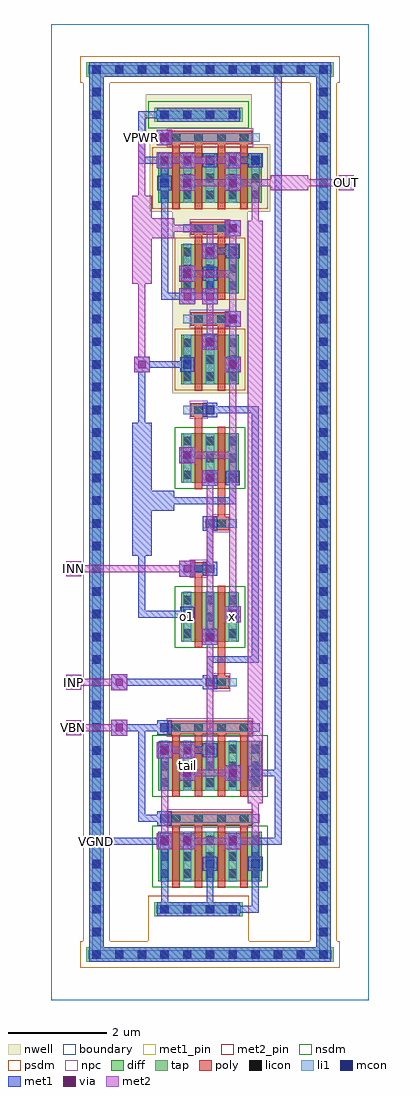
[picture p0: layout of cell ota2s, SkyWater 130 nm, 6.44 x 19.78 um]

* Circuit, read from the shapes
.subckt ota2s INN INP OUT VBN VGND VPWR o1 tail x
XM1 OUT VBN VGND VGND sky130_fd_pr__nfet_01v8 w=1 l=0.15 m=4
XM2 tail VBN VGND VGND sky130_fd_pr__nfet_01v8 w=1 l=0.15 m=4
XM3 tail INN o1 VGND sky130_fd_pr__nfet_01v8 w=1 l=0.15 m=2
XM4 tail INP x VGND sky130_fd_pr__nfet_01v8 w=1 l=0.15 m=2
XM5 OUT o1 VPWR VPWR sky130_fd_pr__pfet_01v8 w=1 l=0.15 m=4
XM6 VPWR x o1 VPWR sky130_fd_pr__pfet_01v8 w=1 l=0.15 m=2
XM7 VPWR x x VPWR sky130_fd_pr__pfet_01v8 w=1 l=0.15 m=2
.ends

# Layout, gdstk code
import gdstk
lib = gdstk.Library(unit=1e-6, precision=1e-09)
def R(c, l, rs):  # rectangles x0, y0, x1, y1
    for r in rs: c.add(gdstk.rectangle(r[:2], r[2:], *l))
def A(c, l, x, y, w, h, nx, ny, dx, dy):  # array of equal rectangles
    R(c, l, [(x+i*dx, y+j*dy, x+i*dx+w, y+j*dy+h) for i in range(nx) for j in range(ny)])
nwell = (64, 20)
diff = (65, 20)
tap = (65, 44)
poly = (66, 20)
licon = (66, 44)
li1 = (67, 20)
mcon = (67, 44)
met1_pin = (68, 16)
met1 = (68, 20)
via = (68, 44)
met2_pin = (69, 16)
met2 = (69, 20)
nsdm = (93, 44)
psdm = (94, 20)
npc = (95, 20)
boundary = (235, 4)

ota2s = lib.new_cell('ota2s')
R(ota2s, nwell, [(2.455,12.3,3.985,15.98), (1.995,15.98,4.445,17.34), (1.995,17.34,4.065,17.52), (1.915,17.52,4.065,18.36)])
R(ota2s, diff, [(2.175,2.405,4.265,3.405), (2.175,4.245,4.265,5.245), (2.635,7.265,3.805,8.265), (2.635,10.485,3.805,11.485), (2.635,12.48,3.805,13.48), (2.635,14.32,3.805,15.32), (2.175,16.16,4.265,17.16)])
R(ota2s, tap, [(0.715,0.775,5.725,1.065), (0.775,0.775,1.065,19.005), (5.375,0.775,5.665,19.005), (2.095,1.695,3.885,1.985), (2.095,17.795,3.885,18.085), (0.715,18.715,5.725,19.005)])
A(ota2s, poly, 2.455, 2.275, 0.15, 1.405, 4, 2, 0.46, 1.84)
A(ota2s, poly, 2.455, 16.03, 0.15, 1.45, 4, 1, 0.46, 0)
R(ota2s, poly, [(2.365,3.545,4.075,3.815), (2.365,5.385,4.075,5.655), (3.285,6.305,3.615,6.575), (3.375,6.44,3.525,8.395), (2.915,7.135,3.065,8.74), (2.825,8.605,3.155,8.875), (3.285,9.525,3.615,9.795), (3.375,9.66,3.525,11.615), (2.915,10.355,3.065,11.96), (2.825,11.825,3.155,12.095), (2.915,12.35,3.065,13.8), (3.375,12.35,3.525,13.8), (2.825,13.665,3.615,13.935), (2.915,14.19,3.065,15.64), (3.375,14.19,3.525,15.64), (2.825,15.505,3.615,15.775), (2.365,17.345,4.075,17.615)])
A(ota2s, licon, 0.835, 0.835, 0.17, 0.17, 11, 2, 0.46, 17.94)
A(ota2s, licon, 0.835, 1.295, 0.17, 0.17, 1, 38, 0, 0.46)
A(ota2s, licon, 5.435, 1.295, 0.17, 0.17, 1, 38, 0, 0.46)
A(ota2s, licon, 2.215, 1.755, 0.17, 0.17, 4, 2, 0.46, 16.1)
A(ota2s, licon, 2.215, 2.48, 0.17, 0.17, 5, 3, 0.46, 0.34)
A(ota2s, licon, 2.445, 3.595, 0.17, 0.17, 4, 2, 0.46, 1.84)
A(ota2s, licon, 2.215, 4.32, 0.17, 0.17, 5, 3, 0.46, 0.34)
A(ota2s, licon, 2.675, 7.34, 0.17, 0.17, 3, 3, 0.46, 0.34)
A(ota2s, licon, 2.675, 10.56, 0.17, 0.17, 3, 3, 0.46, 0.34)
A(ota2s, licon, 2.905, 11.875, 0.17, 0.17, 1, 3, 0, 1.84)
A(ota2s, licon, 2.675, 12.555, 0.17, 0.17, 3, 3, 0.46, 0.34)
A(ota2s, licon, 2.675, 14.395, 0.17, 0.17, 3, 3, 0.46, 0.34)
A(ota2s, licon, 2.215, 16.235, 0.17, 0.17, 5, 3, 0.46, 0.34)
A(ota2s, licon, 2.445, 17.395, 0.17, 0.17, 4, 1, 0.46, 0)
R(ota2s, licon, [(3.365,6.355,3.535,6.525), (2.905,8.655,3.075,8.825), (3.365,9.575,3.535,9.745), (3.365,13.715,3.535,13.885), (3.365,15.555,3.535,15.725)])
A(ota2s, li1, 2.215, 2.4, 0.17, 1.01, 5, 2, 0.46, 1.84)
A(ota2s, li1, 2.675, 7.26, 0.17, 1.01, 3, 2, 0.46, 3.22)
A(ota2s, li1, 2.675, 12.475, 0.17, 1.01, 3, 2, 0.46, 1.84)
A(ota2s, li1, 2.215, 16.155, 0.17, 1.01, 5, 1, 0.46, 0)
R(ota2s, li1, [(0.755,0.835,5.685,1.005), (0.835,0.835,1.005,18.945), (5.435,0.835,5.605,18.945), (2.135,1.755,3.845,1.925), (2.215,3.595,4.225,3.765), (2.215,5.435,4.225,5.605), (3.135,6.355,3.765,6.525), (2.675,8.655,3.305,8.825), (3.135,9.575,3.765,9.745), (2.675,11.875,3.305,12.045), (2.675,13.715,3.765,13.885), (2.675,15.555,3.765,15.725), (2.215,17.395,4.225,17.565), (2.135,17.855,3.845,18.025), (0.755,18.775,5.685,18.945)])
A(ota2s, mcon, 0.835, 0.835, 0.17, 0.17, 11, 2, 0.46, 17.94)
A(ota2s, mcon, 0.835, 1.295, 0.17, 0.17, 1, 11, 0, 0.46)
A(ota2s, mcon, 5.435, 1.295, 0.17, 0.17, 1, 11, 0, 0.46)
A(ota2s, mcon, 2.215, 1.755, 0.17, 0.17, 4, 2, 0.46, 16.1)
A(ota2s, mcon, 2.675, 4.515, 0.17, 0.17, 1, 3, 0, 3.22)
A(ota2s, mcon, 0.835, 6.355, 0.17, 0.17, 3, 2, 2.3, 0.92)
A(ota2s, mcon, 0.835, 8.195, 0.17, 0.17, 1, 3, 0, 0.92)
A(ota2s, mcon, 5.435, 8.195, 0.17, 0.17, 1, 3, 0, 0.92)
A(ota2s, mcon, 0.835, 8.655, 0.17, 0.17, 3, 2, 2.3, 0.92)
A(ota2s, mcon, 0.835, 10.495, 0.17, 0.17, 1, 3, 0, 0.46)
A(ota2s, mcon, 5.435, 10.495, 0.17, 0.17, 1, 3, 0, 0.46)
A(ota2s, mcon, 0.835, 11.875, 0.17, 0.17, 3, 2, 2.3, 1.38)
A(ota2s, mcon, 2.675, 12.795, 0.17, 0.17, 1, 3, 0, 1.84)
A(ota2s, mcon, 0.835, 13.715, 0.17, 0.17, 1, 11, 0, 0.46)
A(ota2s, mcon, 5.435, 13.715, 0.17, 0.17, 1, 11, 0, 0.46)
R(ota2s, mcon, [(3.135,2.675,3.305,2.845), (4.055,2.675,4.225,2.845), (2.215,3.135,2.385,3.305), (2.675,3.135,2.845,3.305), (3.595,3.135,3.765,3.305), (2.215,3.595,2.385,3.765), (3.595,4.515,3.765,4.685), (4.055,4.515,4.225,4.685), (2.215,4.975,2.385,5.145), (3.135,4.975,3.305,5.145), (2.215,5.435,2.385,5.605), (0.835,6.815,1.005,6.985), (5.435,6.815,5.605,6.985), (0.835,7.735,1.005,7.905), (3.595,7.735,3.765,7.905), (5.435,7.735,5.605,7.905), (3.135,10.495,3.305,10.665), (3.595,10.495,3.765,10.665), (0.835,12.335,1.005,12.505), (5.435,12.335,5.605,12.505), (0.835,12.795,1.005,12.965), (3.595,12.795,3.765,12.965), (5.435,12.795,5.605,12.965), (3.595,13.715,3.765,13.885), (3.135,14.635,3.305,14.805), (3.595,15.095,3.765,15.265), (3.595,15.555,3.765,15.725), (2.215,16.475,2.385,16.645), (3.595,16.475,3.765,16.645), (3.135,16.935,3.305,17.105), (4.055,16.935,4.225,17.105), (2.215,17.395,2.385,17.565)])
R(ota2s, met1_pin, [(0.85,3.15,0.99,3.29), (1.77,16.95,1.91,18.01)])
A(ota2s, met1, 3.15, 1.77, 1.06, 0.14, 1, 3, 0, 5.06)
A(ota2s, met1, 2.615, 4.455, 0.29, 0.29, 1, 3, 0, 3.22)
A(ota2s, met1, 3.075, 8.595, 0.29, 0.29, 1, 3, 0, 0.92)
A(ota2s, met1, 3.075, 11.815, 0.29, 0.29, 1, 3, 0, 1.38)
A(ota2s, met1, 2.615, 12.735, 0.29, 0.29, 1, 3, 0, 1.84)
A(ota2s, met1, 3.06, 13.18, 0.32, 0.32, 1, 3, 0, 0.92)
A(ota2s, met1, 1.77, 16.95, 0.6, 0.14, 3, 1, 0.92, 0)
R(ota2s, met1, [(0.775,0.775,5.665,1.065), (0.775,0.775,1.065,19.005), (5.375,0.775,5.665,19.005), (2.155,1.695,3.825,1.985), (2.23,1.77,3.29,1.91), (2.23,1.77,2.37,1.91), (2.23,1.77,2.37,3.29), (3.15,1.77,3.29,2.83), (4.07,1.77,4.21,2.83), (3.075,2.615,3.365,2.905), (3.995,2.615,4.285,2.905), (4.07,2.69,4.21,3.29), (2.14,3.06,2.46,3.38), (2.6,3.06,2.92,3.38), (3.52,3.06,3.84,3.38), (2.155,3.075,2.445,3.365), (2.615,3.075,2.905,3.365), (3.535,3.075,3.825,3.365), (0.85,3.15,2.37,3.29), (0.85,3.15,0.99,3.29), (4.07,3.15,4.67,3.29), (4.53,3.15,4.67,4.67), (2.155,3.535,2.445,3.825), (1.77,3.61,2.37,3.75), (1.77,3.61,1.91,5.59), (2.6,4.44,2.92,4.76), (3.52,4.44,3.84,4.76), (3.535,4.455,3.825,4.745), (3.995,4.455,4.285,4.745), (4.07,4.53,4.67,4.67), (4.53,4.53,4.67,18.93), (2.14,4.9,2.46,5.22), (2.6,4.9,2.92,5.22), (2.155,4.915,2.445,5.205), (3.075,4.915,3.365,5.205), (2.69,4.99,3.29,5.13), (1.22,5.36,1.54,5.68), (2.155,5.375,2.445,5.665), (1.31,5.45,1.91,5.59), (1.77,5.45,2.37,5.59), (1.22,6.28,1.54,6.6), (3.075,6.295,3.365,6.585), (1.31,6.37,3.29,6.51), (3.15,6.37,3.29,6.97), (4.07,6.83,4.21,12.03), (3.06,7.2,3.38,7.52), (3.075,7.215,3.365,7.505), (3.52,7.66,3.84,7.98), (3.535,7.675,3.825,7.965), (1.77,7.75,2.83,7.89), (1.77,7.75,1.91,9.27), (2.6,8.58,2.92,8.9), (2.69,8.67,3.29,8.81), (3.15,8.67,3.29,9.73), (1.64,9,2.04,11.7), (1.64,9.92,2.5,10.32), (2.23,10.05,3.75,10.19), (3.61,10.05,3.75,10.65), (3.06,10.42,3.38,10.74), (3.535,10.435,3.825,10.725), (2.6,10.88,2.92,11.2), (1.77,11.43,1.91,12.95), (1.68,12.72,2,13.04), (3.52,12.72,3.84,13.04), (3.535,12.735,3.825,13.025), (1.77,12.81,2.83,12.95), (3.52,13.64,3.84,13.96), (3.535,13.655,3.825,13.945), (2.6,14.1,2.92,14.42), (2.23,14.19,2.83,14.33), (2.23,14.19,2.37,16.63), (3.15,14.19,3.29,14.79), (2.6,14.56,2.92,14.88), (3.535,15.035,3.825,15.325), (3.15,15.11,3.75,15.25), (3.52,15.48,3.84,15.8), (3.535,15.495,3.825,15.785), (2.6,16.4,2.92,16.72), (3.52,16.4,3.84,16.72), (2.155,16.415,2.445,16.705), (3.535,16.415,3.825,16.705), (2.23,16.49,2.37,17.09), (2.14,16.86,2.46,17.18), (2.6,16.86,2.92,17.18), (3.52,16.86,3.84,17.18), (3.075,16.875,3.365,17.165), (3.995,16.875,4.285,17.165), (1.77,16.95,1.91,18.01), (2.14,17.32,2.46,17.64), (2.155,17.335,2.445,17.625), (2.155,17.795,3.825,18.085), (1.77,17.87,2.37,18.01), (2.23,17.87,2.37,18.01), (0.775,18.715,5.665,19.005), (4.53,18.79,4.67,18.93)])
A(ota2s, via, 3.145, 13.265, 0.15, 0.15, 1, 3, 0, 0.92)
R(ota2s, via, [(2.225,3.145,2.375,3.295), (2.685,3.145,2.835,3.295), (3.605,3.145,3.755,3.295), (2.685,4.525,2.835,4.675), (3.605,4.525,3.755,4.675), (2.225,4.985,2.375,5.135), (2.685,4.985,2.835,5.135), (1.305,5.445,1.455,5.595), (1.305,6.365,1.455,6.515), (3.145,7.285,3.295,7.435), (3.605,7.745,3.755,7.895), (2.685,8.665,2.835,8.815), (3.145,10.505,3.295,10.655), (2.685,10.965,2.835,11.115), (1.765,12.805,1.915,12.955), (3.605,12.805,3.755,12.955), (3.605,13.725,3.755,13.875), (2.685,14.185,2.835,14.335), (2.685,14.645,2.835,14.795), (3.605,15.565,3.755,15.715), (2.685,16.485,2.835,16.635), (3.605,16.485,3.755,16.635), (2.225,16.945,2.375,17.095), (2.685,16.945,2.835,17.095), (3.605,16.945,3.755,17.095), (2.225,17.405,2.375,17.555)])
R(ota2s, met2_pin, [(0.31,5.37,0.61,5.67), (0.31,6.29,0.61,6.59), (0.31,8.59,0.61,8.89), (5.83,16.41,6.13,16.71)])
A(ota2s, met2, 3.06, 13.18, 0.32, 0.32, 1, 3, 0, 0.92)
R(ota2s, met2, [(2.14,3.06,2.46,3.38), (2.6,3.06,2.92,3.38), (3.52,3.06,3.84,3.38), (2.23,3.15,2.37,5.13), (2.69,3.15,3.75,3.29), (3.61,3.15,4.21,3.29), (4.07,3.15,4.21,4.21), (3.99,3.99,4.29,15.79), (2.6,4.44,2.92,4.76), (3.52,4.44,3.84,4.76), (2.69,4.53,3.75,4.67), (3.15,4.53,3.29,7.43), (2.14,4.9,2.46,5.22), (2.6,4.9,2.92,5.22), (2.23,4.99,2.83,5.13), (1.22,5.36,1.54,5.68), (0.31,5.37,0.61,5.67), (0.39,5.45,1.45,5.59), (0.39,5.45,0.53,5.59), (1.22,6.28,1.54,6.6), (0.31,6.29,0.61,6.59), (0.39,6.37,1.45,6.51), (0.39,6.37,0.53,6.51), (3.06,7.2,3.38,7.52), (3.15,7.29,3.29,10.65), (3.52,7.66,3.84,7.98), (3.61,7.75,3.75,11.11), (2.6,8.58,2.92,8.9), (0.31,8.59,0.61,8.89), (0.39,8.67,0.53,8.81), (0.39,8.67,2.83,8.81), (3.06,10.42,3.38,10.74), (2.6,10.88,2.92,11.2), (2.69,10.97,3.75,11.11), (3.61,10.97,3.75,12.95), (1.68,12.72,2,13.04), (3.52,12.72,3.84,13.04), (1.77,12.81,1.91,14.79), (3.61,12.81,3.75,13.87), (3.15,13.27,3.29,14.33), (3.52,13.64,3.84,13.96), (3.61,13.73,3.75,15.71), (2.6,14.1,2.92,14.42), (2.69,14.19,3.29,14.33), (1.64,14.52,2.04,16.3), (2.6,14.56,2.92,14.88), (2.69,14.65,3.75,14.79), (3.15,15.11,3.29,15.71), (1.64,15.44,2.5,15.84), (3.52,15.48,3.84,15.8), (2.23,15.57,3.29,15.71), (4.07,15.57,4.21,16.63), (1.77,16.03,1.91,17.55), (2.6,16.4,2.92,16.72), (3.52,16.4,3.84,16.72), (4.45,16.41,5.21,16.71), (5.83,16.41,6.13,16.71), (2.69,16.49,3.75,16.63), (3.61,16.49,4.67,16.63), (4.99,16.49,6.05,16.63), (5.91,16.49,6.05,16.63), (2.14,16.86,2.46,17.18), (2.6,16.86,2.92,17.18), (3.52,16.86,3.84,17.18), (2.23,16.95,2.83,17.09), (2.69,16.95,3.75,17.09), (2.14,17.32,2.46,17.64), (1.77,17.41,2.37,17.55)])
R(ota2s, nsdm, [(2.05,2.28,4.39,3.53), (2.05,4.12,4.39,5.37), (2.51,7.14,3.93,8.39), (2.51,10.36,3.93,11.61), (1.97,17.67,4.01,18.21)])
R(ota2s, psdm, [(0.59,0.65,5.85,1.19), (0.65,1.19,1.19,18.59), (1.97,1.19,4.01,2.11), (5.25,1.19,5.79,18.59), (2.51,12.355,3.93,13.605), (2.51,14.195,3.93,15.445), (2.05,16.035,4.39,17.285), (0.59,18.59,5.85,19.13)])
R(ota2s, npc, [(2.345,3.495,4.095,3.865), (2.345,5.335,4.095,5.705), (3.265,6.255,3.635,6.625), (2.805,8.555,3.175,8.925), (3.265,9.475,3.635,9.845), (2.805,11.775,3.175,12.145), (2.805,13.615,3.635,13.985), (2.805,15.455,3.635,15.825), (2.345,17.295,4.095,17.665)])
R(ota2s, boundary, [(0,0,6.44,19.78)])
ota2s.add(gdstk.Label('tail', (2.76,4.745), layer=67, texttype=5))
ota2s.add(gdstk.Label('o1', (2.76,7.765), layer=67, texttype=5))
ota2s.add(gdstk.Label('x', (3.68,7.765), layer=67, texttype=5))
ota2s.add(gdstk.Label('VPWR', (1.84,17.48), layer=68, texttype=5))
ota2s.add(gdstk.Label('VGND', (0.92,3.22), layer=68, texttype=5))
ota2s.add(gdstk.Label('INP', (0.46,6.44), layer=69, texttype=5))
ota2s.add(gdstk.Label('INN', (0.46,8.74), layer=69, texttype=5))
ota2s.add(gdstk.Label('VBN', (0.46,5.52), layer=69, texttype=5))
ota2s.add(gdstk.Label('OUT', (5.98,16.56), layer=69, texttype=5))
ota2s.add(gdstk.Label('VPWR', (1.84,17.48), layer=68, texttype=16))
ota2s.add(gdstk.Label('VGND', (0.92,3.22), layer=68, texttype=16))
ota2s.add(gdstk.Label('INP', (0.46,6.44), layer=69, texttype=16))
ota2s.add(gdstk.Label('INN', (0.46,8.74), layer=69, texttype=16))
ota2s.add(gdstk.Label('VBN', (0.46,5.52), layer=69, texttype=16))
ota2s.add(gdstk.Label('OUT', (5.98,16.56), layer=69, texttype=16))

lib.write_gds('ota2s.gds')
